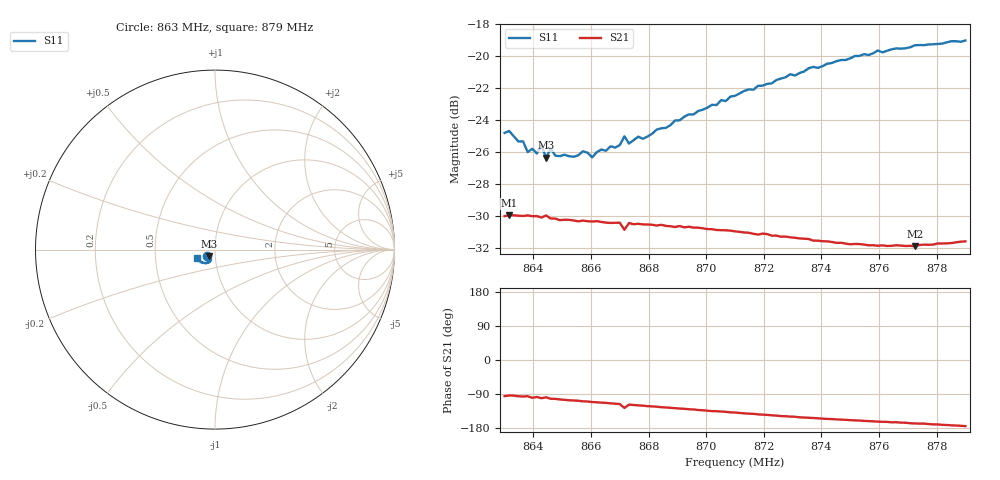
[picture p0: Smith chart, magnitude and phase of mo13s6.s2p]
# HZ S RI R 50
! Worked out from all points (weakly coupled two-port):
!   101 points, 863 MHz to 879 MHz, reference 50 ohm
!   highest |S21| = -29.94 dB at 863.16 MHz (marker M1); lowest = -31.9 dB at 877.24 MHz (marker M2)
!   lowest |S11| = -26.3 dB at 864.44 MHz (marker M3), VSWR 1.10, Z = 46.8 - j3.37 ohm
!   |S11| at or under -10 dB: start of sweep to end of sweep
!   S12 and S22 are empty: the file has one direction only
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8.63e8  -0.0442 -0.0369  -0.00304 -0.0315  0 0  0 0
8.6316e8  -0.0453 -0.0368  -0.00197 -0.0318  0 0  0 0
8.6364e8  -0.0404 -0.0361  -0.0035 -0.0315  0 0  0 0
8.638e8  -0.0348 -0.0361  -0.00312 -0.0316  0 0  0 0
8.6396e8  -0.0385 -0.0339  -0.00534 -0.0311  0 0  0 0
8.6412e8  -0.0329 -0.0372  -0.00419 -0.0313  0 0  0 0
8.6428e8  -0.0359 -0.0387  -0.00589 -0.0307  0 0  0 0
8.6444e8  -0.0321 -0.0359  -0.00467 -0.0314  0 0  0 0
8.646e8  -0.034 -0.0386  -0.00663 -0.0304  0 0  0 0
8.6492e8  -0.0313 -0.0373  -0.00754 -0.0298  0 0  0 0
8.6572e8  -0.0276 -0.0422  -0.00996 -0.0289  0 0  0 0
8.6604e8  -0.0252 -0.0411  -0.0109 -0.0284  0 0  0 0
8.6636e8  -0.0265 -0.0437  -0.0116 -0.028  0 0  0 0
8.67e8  -0.0243 -0.0469  -0.0133 -0.0271  0 0  0 0
8.6716e8  -0.0258 -0.05  -0.017 -0.023  0 0  0 0
8.6732e8  -0.0229 -0.0482  -0.014 -0.0266  0 0  0 0
8.6844e8  -0.0234 -0.0547  -0.0169 -0.0245  0 0  0 0
8.71e8  -0.0317 -0.0682  -0.0212 -0.0187  0 0  0 0
8.7372e8  -0.0525 -0.0764  -0.0236 -0.012  0 0  0 0
8.7644e8  -0.0796 -0.0688  -0.0246 -0.00683  0 0  0 0
8.7724e8  -0.0878 -0.0635  -0.0248 -0.00558  0 0  0 0
8.79e8  -0.1014 -0.0479  -0.0262 -0.00255  0 0  0 0
